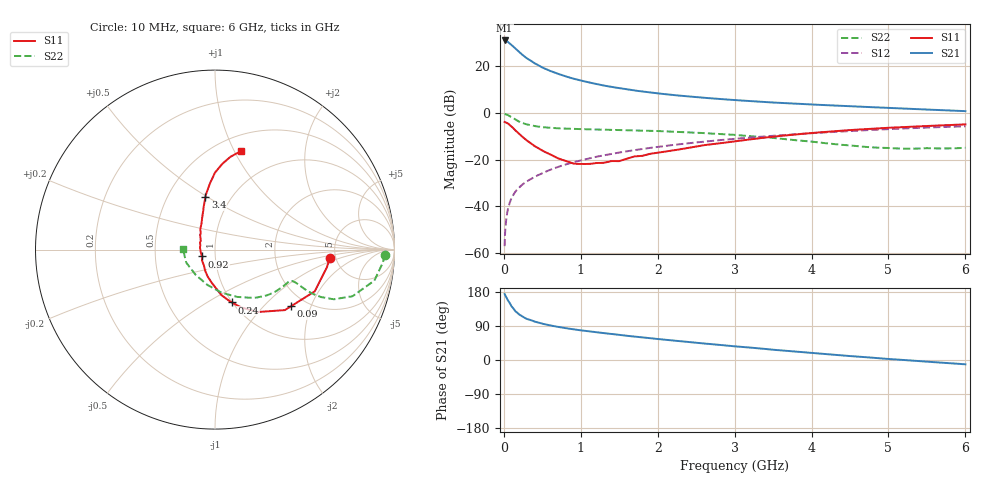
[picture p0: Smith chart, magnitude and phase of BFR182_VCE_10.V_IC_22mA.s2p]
! Infineon Technologies  Discrete & RF Semiconductors
! BFR182
! VCE =  10. V,  IC =  22 mA
! Common Emitter S-Parameters:  Nov 2015
# GHz  S  MA  R  50
!  f  S11  S21  S12  S22
! GHz  MAG  ANG  MAG  ANG  MAG  ANG  MAG  ANG
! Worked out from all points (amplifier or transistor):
!   210 points, 10 MHz to 6 GHz, reference 50 ohm
!   highest |S21| = 31.0 dB at 10 MHz (marker M1)
!   |S21| within 3 dB of that: start of sweep to 135.2 MHz
!   unconditionally stable (mu >= 1): 617 MHz to 2.749 GHz
!   at 185 MHz: K = 0.68, MSG = 29.5 dB, |S12| = -32.5 dB
!   at 1.52 GHz: K = 1.04, MAG = 12.4 dB, |S12| = -16.9 dB
!   at 6 GHz: K = 0.90, MSG = 3.3 dB, |S12| = -5.8 dB
!   S11 on the Smith chart (normalised r, x): 10 MHz: 4.44, -0.74; 90 MHz: 1.66, -1.46; 240 MHz: 1.00, -0.65; 920 MHz: 0.86, -0.07; 3.4 GHz: 0.76, +0.49; 6 GHz: 0.66, +1.06
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0.01  0.6407 -4.4  35.56 174.2  0.0014 70.9  0.9478 -1.8
0.02  0.6311 -9.0  35.08 170.1  0.0034 73.0  0.9377 -4.5
0.05  0.6024 -22.7  33.48 158.4  0.0083 77.4  0.9045 -11.0
0.09  0.5276 -36.8  29.37 145.5  0.0137 75.0  0.8272 -17.0
0.1  0.5148 -40.9  28.61 141.8  0.0151 74.7  0.8095 -18.7
0.15  0.422 -55.5  23.94 128.6  0.0206 70.3  0.7172 -22.7
0.2  0.354 -65.6  20.08 120.0  0.0252 70.5  0.6484 -24.1
0.24  0.3095 -72.2  17.61 115.0  0.0291 69.7  0.6098 -24.3
0.3  0.2558 -82.0  14.73 108.3  0.0342 71.2  0.5656 -24.2
0.4  0.1946 -93.5  11.55 101.4  0.0424 72.1  0.5209 -23.1
0.5  0.1551 -105.4  9.38 95.6  0.0513 72.3  0.4946 -22.4
0.6  0.1302 -114.8  7.949 91.3  0.0602 72.5  0.4796 -22.2
0.7  0.1072 -125.3  6.905 87.5  0.0692 73.1  0.4683 -22.2
0.92  0.0818 -152.3  5.324 80.5  0.0891 71.9  0.4537 -22.8
1.02  0.0806 -166.5  4.843 77.8  0.0978 71.6  0.4487 -23.6
1.4  0.093 154.2  3.595 68.6  0.1322 69.2  0.4346 -27.4
2.02  0.1422 125.0  2.597 55.0  0.1888 63.8  0.4077 -35.5
3.1  0.2577 103.7  1.835 34.5  0.2871 52.8  0.3276 -54.8
3.4  0.2965 100.4  1.707 29.1  0.314 49.6  0.2993 -62.1
4.1  0.3823 93.3  1.487 17.0  0.3757 41.6  0.2321 -85.0
5.1  0.4886 84.1  1.262 1.4  0.4574 29.7  0.1735 -133.0
6  0.5674 75.2  1.09 -11.4  0.5151 17.9  0.1792 178.5
